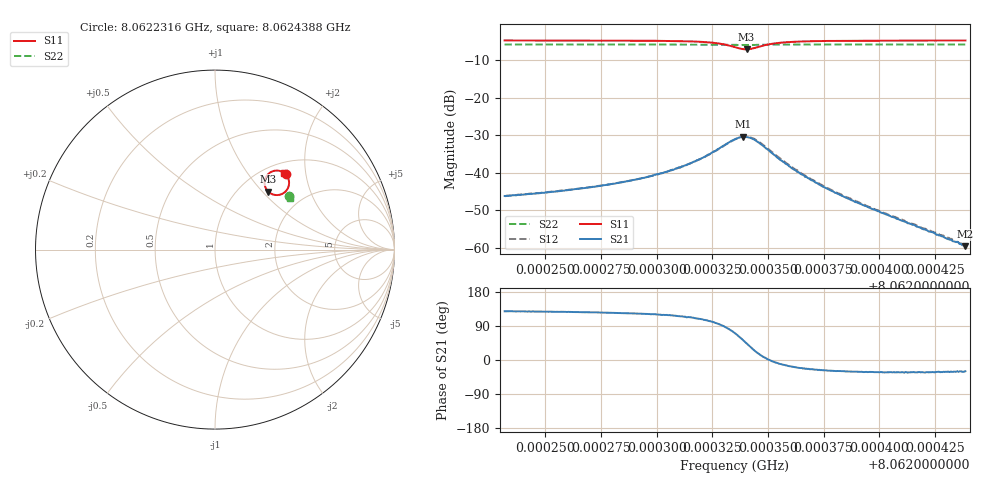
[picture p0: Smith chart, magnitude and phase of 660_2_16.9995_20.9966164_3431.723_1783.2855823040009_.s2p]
#  HZ  S  RI  R  50.00
! Rohde & Schwarz Vector Network Analyzer
! Rohde-Schwarz,ZNB20-2Port,1311601062101988,3.16
! Created: UTC 3/20/2024, 11:21:43 PM
! freq[Hz]  re:S11  im:S11  re:S21  im:S21  re:S12  im:S12  re:S22  im:S22
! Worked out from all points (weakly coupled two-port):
!   401 points, 8.0622316 GHz to 8.0624388 GHz, reference 50 ohm
!   highest |S21| = -30.42 dB at 8.0623388 GHz (marker M1); lowest = -59.5 dB at 8.0624388 GHz (marker M2)
!   lowest |S11| = -7.2 dB at 8.0623404 GHz (marker M3), VSWR 2.56, Z = 67.3 + j53.9 ohm
!   |S11| at or under -10 dB: nowhere
!   |S22| runs from -6.0 to -5.9 dB; largest |S21 - S12| = 0.0011
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8.06223162e9  0.3938 0.42  -0.00305 0.00384  -0.00278 0.00401  0.4118 0.2986
8.0622482e9  0.3962 0.4174  -0.00331 0.00426  -0.00304 0.00447  0.4125 0.2978
8.06226632e9  0.3994 0.4133  -0.00368 0.005  -0.00339 0.00523  0.4131 0.2967
8.06228393e9  0.4031 0.4074  -0.00415 0.00615  -0.00377 0.00644  0.4138 0.2955
8.06230102e9  0.4083 0.3969  -0.00481 0.00837  -0.00429 0.00864  0.4144 0.2943
8.06230827e9  0.4107 0.3892  -0.00508 0.01  -0.00442 0.0102  0.4146 0.2934
8.06231656e9  0.4128 0.3752  -0.00513 0.013  -0.00428 0.0132  0.4147 0.2925
8.06232122e9  0.4122 0.363  -0.00438 0.0155  -0.00378 0.0156  0.4148 0.2919
8.06232795e9  0.4029 0.3365  -0.00174 0.0209  -0.000798 0.0207  0.4145 0.2905
8.06233157e9  0.3866 0.3182  0.00231 0.0243  0.00305 0.024  0.4136 0.2897
8.0623352e9  0.3556 0.3046  0.0092 0.0264  0.00976 0.026  0.4122 0.2893
8.06233882e9  0.3129 0.3114  0.0184 0.0238  0.0187 0.0237  0.4107 0.2899
8.06234038e9  0.2961 0.3236  0.0216 0.0207  0.0222 0.0207  0.41 0.2903
8.06234297e9  0.279 0.3521  0.0247 0.0141  0.0254 0.014  0.4098 0.2916
8.06234504e9  0.276 0.376  0.0246 0.00885  0.0254 0.00867  0.41 0.2928
8.06235177e9  0.2999 0.4241  0.0182 -0.00103  0.0188 -0.00177  0.4117 0.2943
8.06236109e9  0.3333 0.4396  0.0108 -0.00344  0.011 -0.00408  0.4137 0.2941
8.0623699e9  0.3507 0.4402  0.0072 -0.00328  0.00708 -0.00388  0.4146 0.2935
8.06237508e9  0.3574 0.4392  0.00573 -0.00295  0.00576 -0.00334  0.4152 0.2932
8.06238388e9  0.3654 0.4373  0.00422 -0.00239  0.00417 -0.00272  0.4159 0.2925
8.06240459e9  0.3759 0.4329  0.00227 -0.00144  0.00222 -0.0016  0.417 0.2912
8.06243877e9  0.3844 0.4281  0.000916 -0.000522  0.000903 -0.00058  0.4183 0.2892
